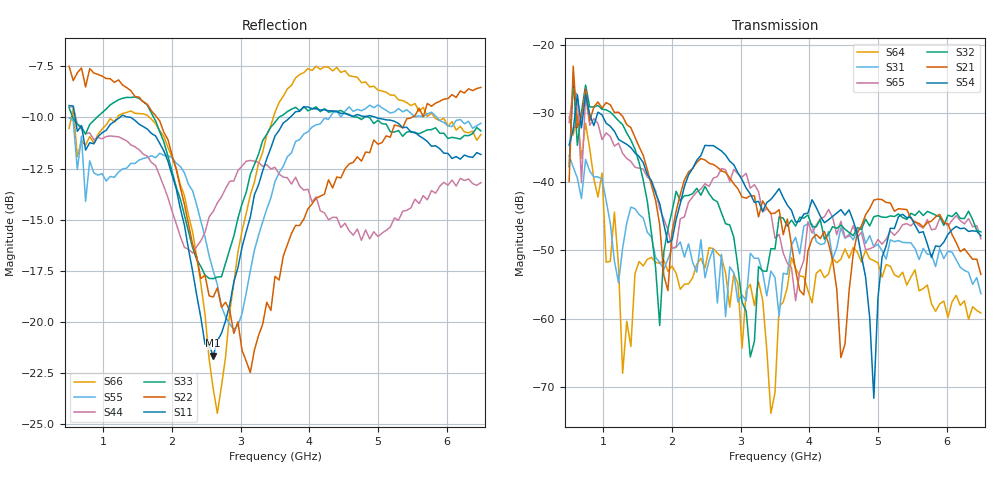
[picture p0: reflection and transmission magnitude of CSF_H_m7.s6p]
!Keysight Technologies,M9804A,MY58100912,A.14.10.03
!Date: Thursday, April 27, 2023 10:28:33
!Correction: S11(C  6-Port  )
!S12(C  6-Port  )
!S13(C  6-Port  )
!S14(C  6-Port  )
!S15(C  6-Port  )
!S16(C  6-Port  )
!S21(C  6-Port  )
!S22(C  6-Port  )
!S23(C  6-Port  )
!S24(C  6-Port  )
!S25(C  6-Port  )
!S26(C  6-Port  )
!S31(C  6-Port  )
!S32(C  6-Port  )
!S33(C  6-Port  )
!S34(C  6-Port  )
!S35(C  6-Port  )
!S36(C  6-Port  )
!S41(C  6-Port  )
!S42(C  6-Port  )
!S43(C  6-Port  )
!S44(C  6-Port  )
!S45(C  6-Port  )
!S46(C  6-Port  )
!S51(C  6-Port  )
!S52(C  6-Port  )
!S53(C  6-Port  )
!S54(C  6-Port  )
!S55(C  6-Port  )
!S56(C  6-Port  )
!S61(C  6-Port  )
!S62(C  6-Port  )
!S63(C  6-Port  )
!S64(C  6-Port  )
!S65(C  6-Port  )
!S66(C  6-Port  )
!S6P File: Measurement: :
# Hz S  RI  R 50
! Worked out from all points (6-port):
!   101 points, 500 MHz to 6.5 GHz, reference 50 ohm
!   strongest paths, dB at 500 MHz, 2 GHz, 3.5 GHz, 5 GHz, 6.5 GHz:
!     S54: -34.7, -48.5, -41.9, -57.1, -47.9
!     S21: -40.0, -47.3, -44.6, -42.5, -53.5
!     S32: -37.8, -44.3, -49.8, -45.0, -47.3
!     S65: -31.4, -49.7, -48.3, -48.5, -48.4
!     S31: -36.2, -49.8, -54.0, -49.2, -56.3
!     S64: -30.6, -52.3, -70.8, -51.9, -59.2
!   lowest |S11| = -21.7 dB at 2.6 GHz (marker M1), VSWR 1.18, Z = 42.6 + j1.99 ohm
!   |S11| at or under -10 dB: 587.1 MHz to 1.236 GHz (649.3 MHz wide, 71.2 % of centre); 1.402 GHz to 3.718 GHz (2.316 GHz wide, 90.5 % of centre); 4.973 GHz to end of sweep
